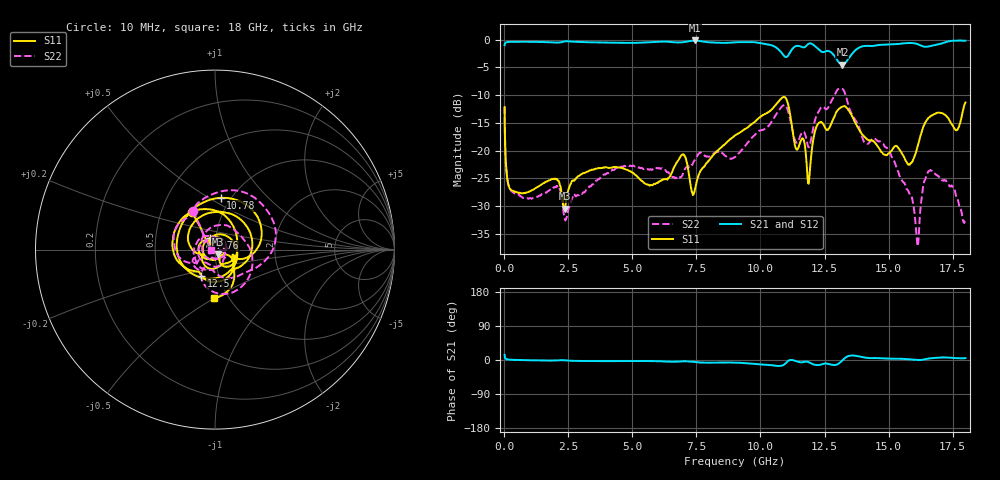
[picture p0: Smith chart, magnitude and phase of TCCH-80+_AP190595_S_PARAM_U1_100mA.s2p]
!Created: 07-29-2019 at 10:54:31
!Mini-Circuits
!S2P DATA File Format
!Type: RF CHOKE
!Port 1: RF; Port 2: RF AND DC IN
!TEST CONDITIONS: Z:50 OHM SYSTEM, INPUT POWER = -10dBm, TEMP:25°C
!REMARKS: TESTED WITH 100 mA CURRENT; FULL 2 PORT CALIBRATION OF THE SYSTEM; FIXTURE THRU LINE LOSS NORMALIZED VIA DATA/MEMORY FUNCTION; FIXTURE RETURN LOSS NORMALIZED VIA DATA-MEMORY FUNCTION.
!FIXTURE: 90-2-20-165
!PRESSING ARM: B85-TA-076
!MODEL: TCCH-80+
!S/N: U1_100mA
# MHZ S DB R 50
!Frequency  S11 dB  S11 DEG  S21 dB  S21 DEG  S12 dB  S12 DEG  S22 dB  S22 DEG
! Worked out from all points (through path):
!   905 points, 10 MHz to 18 GHz, reference 50 ohm
!   highest |S21| = -0.12 dB at 7.44 GHz (marker M1); lowest = -4.5 dB at 13.2 GHz (marker M2)
!   lowest |S11| = -30.5 dB at 2.36 GHz (marker M3), VSWR 1.06, Z = 51.8 - j2.48 ohm
!   |S11| at or under -10 dB: start of sweep to end of sweep
!   |S22| runs from -37.3 to -8.8 dB; largest |S21 - S12| = 0.0081
!   S11 on the Smith chart (normalised r, x): 10 MHz: 0.71, +0.32; 7.76 GHz: 0.94, +0.12; 10.78 GHz: 0.90, +0.56; 12.5 GHz: 0.82, -0.25; 18 GHz: 0.86, -0.50
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10  -12.16 121.6  -0.97 13.5  -0.96 13.4  -12.12 119.8
100  -24.54 133.7  -0.43 2.1  -0.43 2.1  -24.49 134.3
260  -27.11 136.6  -0.38 0.7  -0.38 0.7  -27.23 138.9
2360  -30.48 -53.1  -0.28 -0.8  -0.28 -0.9  -32.37 -19.7
3020  -24.24 -116.2  -0.42 -2.6  -0.41 -2.6  -27.85 -42.2
6020  -25.76 -79.8  -0.37 -3.2  -0.36 -3.2  -23.19 43.6
6980  -20.67 170.7  -0.44 -3.6  -0.43 -3.6  -24.01 -23.2
7440  -26.98 140.3  -0.12 -5.3  -0.12 -5.3  -21.70 -59.0
7760  -23.04 112.2  -0.32 -6.9  -0.32 -6.9  -20.69 -101.2
9020  -17.22 -34.4  -0.46 -6.9  -0.46 -7.0  -21.13 148.5
10160  -13.44 178.3  -0.75 -12.2  -0.75 -12.3  -16.09 36.9
10780  -10.75 83.8  -2.09 -15.6  -2.11 -15.8  -12.35 -36.8
11860  -25.87 -52.7  -0.77 -5.1  -0.78 -4.9  -19.31 -154.8
12020  -19.30 -28.2  -0.77 -10.5  -0.76 -10.4  -16.89 -148.3
12500  -15.64 -117.4  -2.18 -9.3  -2.17 -9.4  -12.30 138.0
13200  -12.08 149.1  -4.51 -0.9  -4.55 -0.8  -8.86 25.1
13760  -15.54 53.8  -1.68 10.6  -1.67 10.7  -14.91 -63.1
15020  -20.48 -73.1  -0.86 3.6  -0.84 3.6  -20.09 135.6
16120  -19.48 -170.6  -0.77 -0.0  -0.79 -0.1  -36.85 50.4
16620  -13.87 109.1  -1.15 4.4  -1.17 4.6  -23.58 5.3
17180  -13.46 12.4  -0.51 6.7  -0.51 6.8  -25.31 -72.6
18000  -11.34 -91.1  -0.17 4.9  -0.15 5.3  -33.12 -170.1
